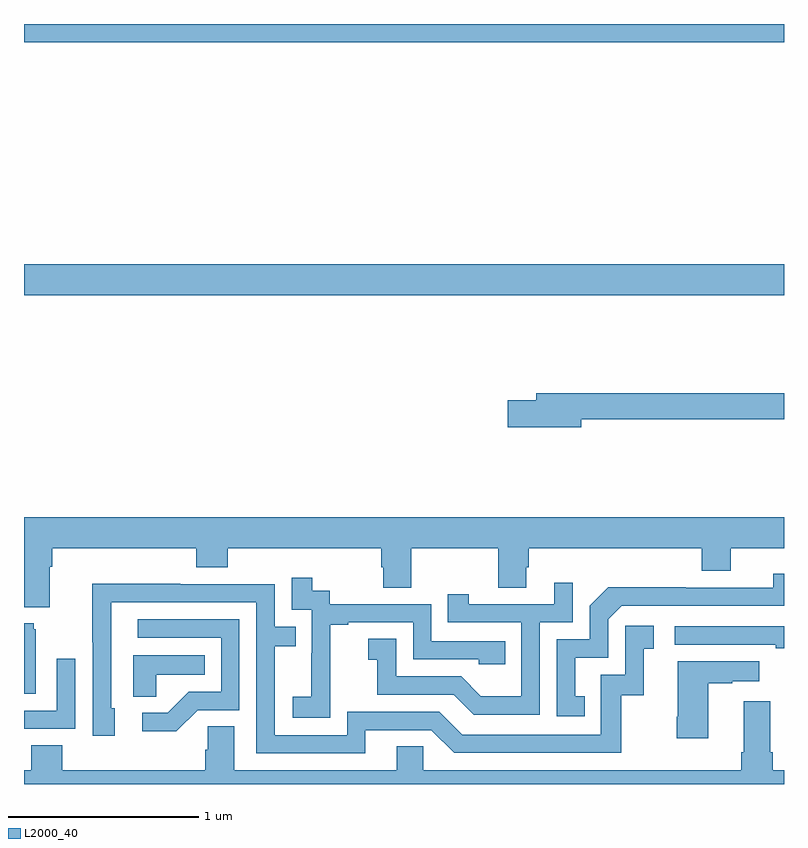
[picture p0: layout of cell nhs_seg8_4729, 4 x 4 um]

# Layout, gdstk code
import gdstk
lib = gdstk.Library(unit=1e-6, precision=1e-09)
def R(c, l, rs):  # rectangles x0, y0, x1, y1
    for r in rs: c.add(gdstk.rectangle(r[:2], r[2:], *l))
def P(c, l, *ps):  # polygons
    for p in ps: c.add(gdstk.Polygon(p, *l))
L2000_40 = (2000, 40)

nhs_seg8_4729 = lib.new_cell('nhs_seg8_4729')
R(nhs_seg8_4729, L2000_40, [(397,1144.472,401,1144.636), (397,1145.804,401,1145.9)])
P(nhs_seg8_4729, L2000_40, [(399.934,1143.82),(401,1143.82),(401,1143.956),(399.695,1143.956),(399.695,1143.92),(399.546,1143.92),(399.546,1143.778),(399.934,1143.778)],
  [(397.135,1143.044),(397.148,1143.044),(397.148,1143.14),(397.907,1143.14),(397.907,1143.041),(398.072,1143.041),(398.072,1143.14),(398.879,1143.14),(398.879,1143.042),(398.891,1143.042),(398.891,1142.932),(399.039,1142.932),(399.039,1143.14),(399.496,1143.14),(399.496,1142.932),(399.643,1142.932),(399.643,1143.042),(399.656,1143.042),(399.656,1143.14),(400.568,1143.14),(400.568,1143.023),(400.72,1143.023),(400.72,1143.14),(401,1143.14),(401,1143.304),(397,1143.304),(397,1142.831),(397.135,1142.831)],
  [(399.95,1142.361),(399.901,1142.361),(399.901,1142.565),(400.074,1142.565),(400.074,1142.766),(400.146,1142.838),(401,1142.838),(401,1143.007),(400.944,1143.007),(400.944,1142.934),(400.484,1142.934),(400.484,1142.936),(400.076,1142.936),(399.978,1142.838),(399.978,1142.661),(399.804,1142.661),(399.804,1142.256),(399.95,1142.256)],
  [(398.613,1142.455),(398.612,1142.455),(398.612,1142.739),(398.707,1142.739),(398.707,1142.751),(399.048,1142.751),(399.048,1142.556),(399.393,1142.556),(399.393,1142.529),(399.533,1142.529),(399.533,1142.652),(399.144,1142.652),(399.144,1142.847),(398.61,1142.847),(398.61,1142.916),(398.518,1142.916),(398.518,1142.986),(398.409,1142.986),(398.409,1142.817),(398.514,1142.817),(398.514,1142.588),(398.513,1142.588),(398.513,1142.359),(398.415,1142.359),(398.415,1142.249),(398.613,1142.249)],
  [(399.714,1142.751),(399.888,1142.751),(399.888,1142.959),(399.791,1142.959),(399.791,1142.847),(399.34,1142.847),(399.34,1142.899),(399.229,1142.899),(399.229,1142.751),(399.618,1142.751),(399.618,1142.362),(399.404,1142.362),(399.3,1142.466),(398.958,1142.466),(398.958,1142.665),(398.811,1142.665),(398.811,1142.555),(398.86,1142.555),(398.86,1142.37),(399.263,1142.37),(399.368,1142.265),(399.714,1142.265)],
  [(398.797,1142.184),(399.144,1142.184),(399.264,1142.064),(400.144,1142.064),(400.144,1142.367),(400.262,1142.367),(400.262,1142.613),(400.315,1142.613),(400.315,1142.734),(400.164,1142.734),(400.164,1142.475),(400.035,1142.475),(400.035,1142.16),(399.306,1142.16),(399.186,1142.28),(398.7,1142.28),(398.7,1142.157),(398.319,1142.157),(398.319,1142.626),(398.429,1142.626),(398.429,1142.727),(398.319,1142.727),(398.319,1142.952),(397.823,1142.952),(397.823,1142.954),(397.36,1142.954),(397.36,1142.647),(397.362,1142.647),(397.362,1142.154),(397.477,1142.154),(397.477,1142.298),(397.458,1142.298),(397.458,1142.856),(398.223,1142.856),(398.223,1142.061),(398.797,1142.061)],
  [(397.914,1142.289),(398.133,1142.289),(398.133,1142.766),(397.599,1142.766),(397.599,1142.67),(398.037,1142.67),(398.037,1142.385),(397.868,1142.385),(397.757,1142.274),(397.623,1142.274),(397.623,1142.177),(397.801,1142.177)],
  [(397.063,1142.715),(397.052,1142.715),(397.052,1142.746),(397,1142.746),(397,1142.375),(397.063,1142.375)],
  [(401,1142.73),(400.425,1142.73),(400.425,1142.634),(400.957,1142.634),(400.957,1142.614),(401,1142.614)],
  [(397.695,1142.474),(397.952,1142.474),(397.952,1142.578),(397.574,1142.578),(397.574,1142.359),(397.695,1142.359)],
  [(397.269,1142.56),(397.173,1142.56),(397.173,1142.286),(397,1142.286),(397,1142.19),(397.269,1142.19)],
  [(400.6,1142.431),(400.727,1142.431),(400.727,1142.441),(400.87,1142.441),(400.87,1142.545),(400.442,1142.545),(400.442,1142.254),(400.435,1142.254),(400.435,1142.142),(400.6,1142.142)],
  [(401,1141.972),(400.94,1141.972),(400.94,1142.068),(400.927,1142.068),(400.927,1142.335),(400.787,1142.335),(400.787,1142.068),(400.775,1142.068),(400.775,1141.972),(399.102,1141.972),(399.102,1142.099),(398.963,1142.099),(398.963,1141.972),(398.107,1141.972),(398.107,1142.204),(397.968,1142.204),(397.968,1142.081),(397.955,1142.081),(397.955,1141.972),(397.202,1141.972),(397.202,1142.105),(397.037,1142.105),(397.037,1141.972),(397,1141.972),(397,1141.9),(401,1141.9)])

lib.write_gds('nhs_seg8_4729.gds')
